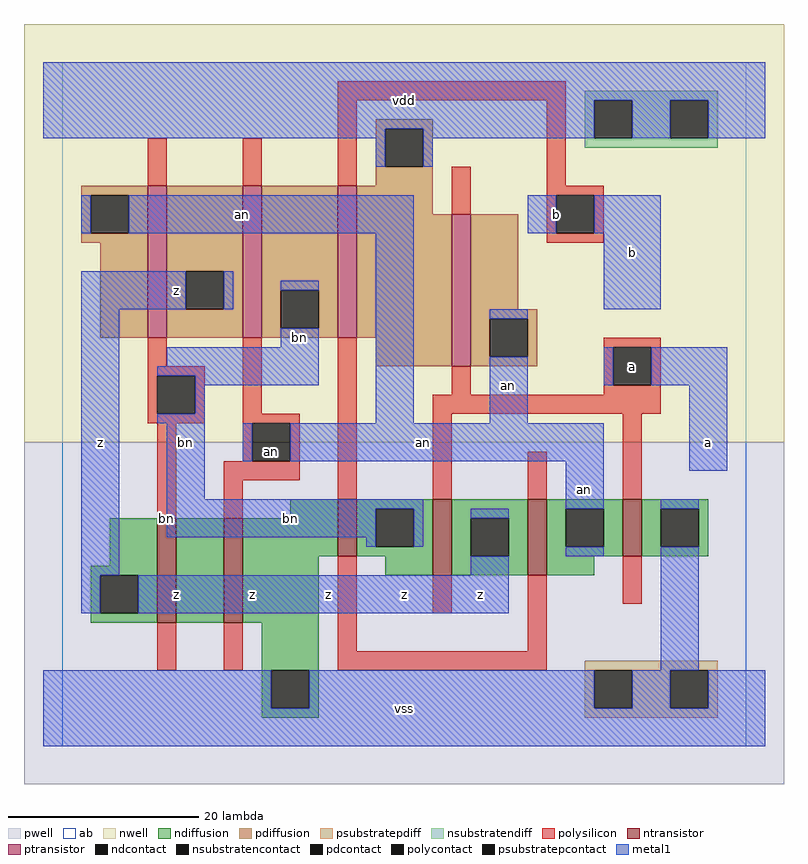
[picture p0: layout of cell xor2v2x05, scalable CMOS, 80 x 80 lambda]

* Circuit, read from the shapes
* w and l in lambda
.subckt xor2v2x05 a an b bn vdd vss z
M1 n1 bn z vss nfet w=11 l=2
M2 vss an n1 vss nfet w=11 l=2
M3 bn b vss vss nfet w=6 l=2
M4 z a bn vss nfet w=8 l=2
M5 an b z vss nfet w=8 l=2
M6 vss a an vss nfet w=6 l=2
M7 z bn an vdd pfet w=16 l=2
M8 bn an z vdd pfet w=16 l=2
M9 vdd b bn vdd pfet w=16 l=2
M10 an a vdd vdd pfet w=16 l=2
.ends

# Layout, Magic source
magic
tech scmos
<< ab >>
rect 0 0 72 72
<< pwell >>
rect -4 -4 76 32
<< nwell >>
rect -4 32 76 76
<< polysilicon >>
rect 29 68 53 70
rect 9 59 11 64
rect 19 59 21 64
rect 29 59 31 68
rect 41 56 43 61
rect 51 59 53 68
rect 51 58 57 59
rect 9 40 11 43
rect 9 39 15 40
rect 9 35 10 39
rect 14 35 15 39
rect 9 34 15 35
rect 19 35 21 43
rect 19 34 25 35
rect 10 24 12 34
rect 19 30 20 34
rect 24 30 25 34
rect 17 28 25 30
rect 17 24 19 28
rect 29 26 31 43
rect 51 54 52 58
rect 56 54 57 58
rect 51 53 57 54
rect 57 42 63 43
rect 41 37 43 40
rect 57 38 58 42
rect 62 38 63 42
rect 57 37 63 38
rect 39 35 63 37
rect 39 26 41 35
rect 49 26 51 31
rect 59 26 61 35
rect 10 8 12 13
rect 17 8 19 13
rect 29 10 31 20
rect 39 14 41 18
rect 49 10 51 18
rect 59 15 61 20
rect 29 8 51 10
<< ndiffusion >>
rect 24 24 29 26
rect 5 19 10 24
rect 3 18 10 19
rect 3 14 4 18
rect 8 14 10 18
rect 3 13 10 14
rect 12 13 17 24
rect 19 20 29 24
rect 31 25 39 26
rect 31 21 33 25
rect 37 21 39 25
rect 31 20 39 21
rect 19 13 27 20
rect 21 8 27 13
rect 34 18 39 20
rect 41 24 49 26
rect 41 20 43 24
rect 47 20 49 24
rect 41 18 49 20
rect 51 25 59 26
rect 51 21 53 25
rect 57 21 59 25
rect 51 20 59 21
rect 61 25 68 26
rect 61 21 63 25
rect 67 21 68 25
rect 61 20 68 21
rect 51 18 56 20
rect 21 4 22 8
rect 26 4 27 8
rect 21 3 27 4
<< pdiffusion >>
rect 33 65 39 66
rect 33 61 34 65
rect 38 61 39 65
rect 33 59 39 61
rect 2 58 9 59
rect 2 54 3 58
rect 7 54 9 58
rect 2 53 9 54
rect 4 43 9 53
rect 11 50 19 59
rect 11 46 13 50
rect 17 46 19 50
rect 11 43 19 46
rect 21 48 29 59
rect 21 44 23 48
rect 27 44 29 48
rect 21 43 29 44
rect 31 56 39 59
rect 31 43 41 56
rect 33 40 41 43
rect 43 46 48 56
rect 43 45 50 46
rect 43 41 45 45
rect 49 41 50 45
rect 43 40 50 41
<< metal1 >>
rect -2 68 74 72
rect -2 65 56 68
rect -2 64 34 65
rect 33 61 34 64
rect 38 64 56 65
rect 60 64 64 68
rect 68 64 74 68
rect 38 61 39 64
rect 2 54 3 58
rect 7 54 37 58
rect 49 54 52 58
rect 56 54 63 58
rect 2 46 13 50
rect 17 46 18 50
rect 23 48 27 49
rect 2 18 6 46
rect 23 42 27 44
rect 11 40 27 42
rect 10 39 27 40
rect 14 38 27 39
rect 14 35 15 38
rect 10 34 15 35
rect 33 34 37 54
rect 57 46 63 54
rect 45 45 49 46
rect 45 34 49 41
rect 57 38 58 42
rect 62 38 70 42
rect 11 26 15 34
rect 19 30 20 34
rect 24 30 57 34
rect 11 25 38 26
rect 53 25 57 30
rect 66 29 70 38
rect 11 22 33 25
rect 32 21 33 22
rect 37 21 38 25
rect 43 24 47 25
rect 53 20 57 21
rect 63 25 67 26
rect 43 18 47 20
rect 2 14 4 18
rect 8 14 47 18
rect 63 8 67 21
rect -2 4 22 8
rect 26 4 56 8
rect 60 4 64 8
rect 68 4 74 8
rect -2 0 74 4
<< ntransistor >>
rect 10 13 12 24
rect 17 13 19 24
rect 29 20 31 26
rect 39 18 41 26
rect 49 18 51 26
rect 59 20 61 26
<< ptransistor >>
rect 9 43 11 59
rect 19 43 21 59
rect 29 43 31 59
rect 41 40 43 56
<< polycontact >>
rect 10 35 14 39
rect 20 30 24 34
rect 52 54 56 58
rect 58 38 62 42
<< ndcontact >>
rect 4 14 8 18
rect 33 21 37 25
rect 43 20 47 24
rect 53 21 57 25
rect 63 21 67 25
rect 22 4 26 8
<< pdcontact >>
rect 34 61 38 65
rect 3 54 7 58
rect 13 46 17 50
rect 23 44 27 48
rect 45 41 49 45
<< psubstratepcontact >>
rect 56 4 60 8
rect 64 4 68 8
<< nsubstratencontact >>
rect 56 64 60 68
rect 64 64 68 68
<< psubstratepdiff >>
rect 55 8 69 9
rect 55 4 56 8
rect 60 4 64 8
rect 68 4 69 8
rect 55 3 69 4
<< nsubstratendiff >>
rect 55 68 69 69
rect 55 64 56 68
rect 60 64 64 68
rect 68 64 69 68
rect 55 63 69 64
<< labels >>
rlabel polycontact 22 31 22 31 6 an
rlabel polysilicon 11 24 11 24 6 bn
rlabel metal1 12 16 12 16 6 z
rlabel metal1 4 32 4 32 6 z
rlabel metal1 13 32 13 32 6 bn
rlabel metal1 12 48 12 48 6 z
rlabel metal1 28 16 28 16 6 z
rlabel metal1 20 16 20 16 6 z
rlabel metal1 25 43 25 43 6 bn
rlabel metal1 36 4 36 4 6 vss
rlabel metal1 44 16 44 16 6 z
rlabel metal1 36 16 36 16 6 z
rlabel metal1 24 24 24 24 6 bn
rlabel metal1 47 38 47 38 6 an
rlabel metal1 52 56 52 56 6 b
rlabel metal1 19 56 19 56 6 an
rlabel metal1 36 68 36 68 6 vdd
rlabel metal1 55 27 55 27 6 an
rlabel metal1 38 32 38 32 6 an
rlabel metal1 68 32 68 32 6 a
rlabel polycontact 60 40 60 40 6 a
rlabel metal1 60 52 60 52 6 b
<< end >>
